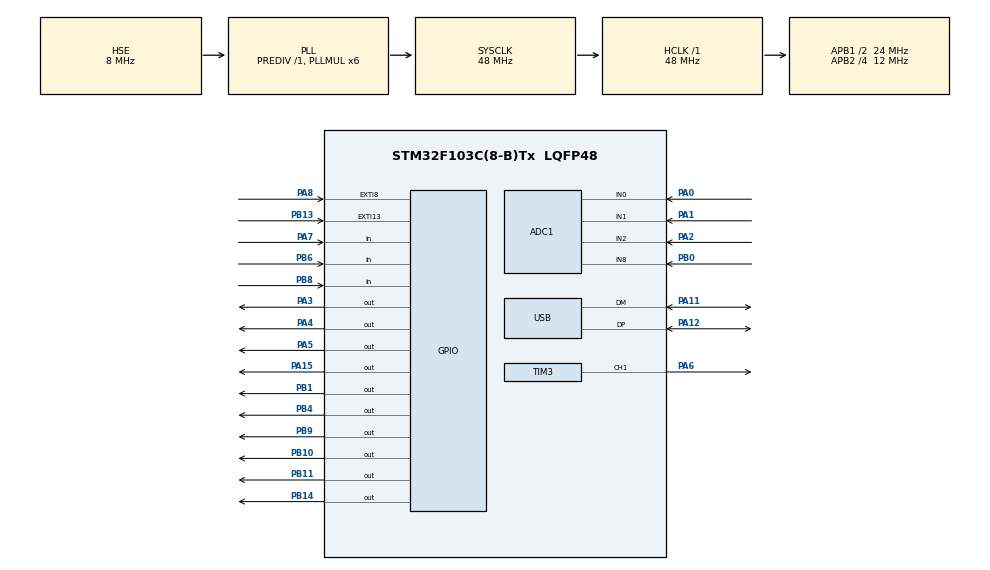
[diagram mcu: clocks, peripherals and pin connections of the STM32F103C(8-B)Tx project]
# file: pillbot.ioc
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ADC1.Channel-1\#ChannelRegularConversion=ADC_CHANNEL_0
ADC1.NbrOfConversionFlag=1
ADC1.Rank-1\#ChannelRegularConversion=1
ADC1.SamplingTime-1\#ChannelRegularConversion=ADC_SAMPLETIME_1CYCLE_5
ADC1.master=1
Mcu.Family=STM32F1
Mcu.Name=STM32F103C(8-B)Tx
Mcu.Package=LQFP48
NVIC.PriorityGroup=NVIC_PRIORITYGROUP_4
NVIC.TIM1_UP_IRQn=true\:0\:0\:false\:false\:true\:true
NVIC.USB_LP_CAN1_RX0_IRQn=true\:0\:0\:false\:false\:true\:false
PA0-WKUP.Signal=ADCx_IN0
PA1.Signal=ADCx_IN1
PA11.Mode=Device
PA11.Signal=USB_DM
PA12.Mode=Device
PA12.Signal=USB_DP
PA13.Mode=Serial_Wire
PA13.Signal=SYS_JTMS-SWDIO
PA14.Mode=Serial_Wire
PA14.Signal=SYS_JTCK-SWCLK
PA15.Signal=GPIO_Output
PA2.Signal=ADCx_IN2
PA3.Signal=GPIO_Output
PA4.Signal=GPIO_Output
PA5.Signal=GPIO_Output
PA6.Signal=S_TIM3_CH1
PA7.GPIO_PuPd=GPIO_PULLUP
PA7.Signal=GPIO_Input
PA8.Signal=GPXTI8
PB0.Signal=ADCx_IN8
PB1.Signal=GPIO_Output
PB10.Signal=GPIO_Output
PB11.Signal=GPIO_Output
PB13.Signal=GPXTI13
PB14.Signal=GPIO_Output
PB4.Signal=GPIO_Output
PB6.GPIO_PuPd=GPIO_PULLUP
PB6.Signal=GPIO_Input
PB8.GPIO_PuPd=GPIO_PULLUP
PB8.Signal=GPIO_Input
PB9.Signal=GPIO_Output
PC14-OSC32_IN.Mode=LSE-External-Oscillator
PC14-OSC32_IN.Signal=RCC_OSC32_IN
PC15-OSC32_OUT.Mode=LSE-External-Oscillator
PC15-OSC32_OUT.Signal=RCC_OSC32_OUT
PD0-OSC_IN.Mode=HSE-External-Oscillator
PD0-OSC_IN.Signal=RCC_OSC_IN
PD1-OSC_OUT.Mode=HSE-External-Oscillator
PD1-OSC_OUT.Signal=RCC_OSC_OUT
ProjectManager.HeapSize=0x200
ProjectManager.StackSize=0x400
ProjectManager.TargetToolchain=SW4STM32
RCC.ADCPresc=RCC_ADCPCLK2_DIV6
RCC.AHBFreq_Value=48000000
RCC.APB1CLKDivider=RCC_HCLK_DIV2
RCC.APB1Freq_Value=24000000
RCC.APB1TimFreq_Value=48000000
RCC.APB2CLKDivider=RCC_HCLK_DIV4
RCC.APB2Freq_Value=12000000
RCC.APB2TimFreq_Value=24000000
RCC.HCLKFreq_Value=48000000
RCC.PLLMUL=RCC_PLL_MUL6
RCC.PLLSourceVirtual=RCC_PLLSOURCE_HSE
RCC.RTCClockSelection=RCC_RTCCLKSOURCE_LSE
RCC.SYSCLKFreq_VALUE=48000000
RCC.SYSCLKSource=RCC_SYSCLKSOURCE_PLLCLK
RCC.USBFreq_Value=48000000
SH.ADCx_IN0.0=ADC1_IN0,IN0
SH.ADCx_IN1.0=ADC1_IN1,IN1
SH.ADCx_IN2.0=ADC1_IN2,IN2
SH.ADCx_IN8.0=ADC1_IN8,IN8
SH.S_TIM3_CH1.0=TIM3_CH1,PWM Generation1 CH1
TIM1.AutoReloadPreload=TIM_AUTORELOAD_PRELOAD_ENABLE
TIM1.Period=500
TIM1.Prescaler=48
TIM1.RepetitionCounter=1
TIM1.TIM_MasterOutputTrigger=TIM_TRGO_UPDATE
TIM3.AutoReloadPreload=TIM_AUTORELOAD_PRELOAD_ENABLE
TIM3.Channel-PWM\ Generation1\ CH1=TIM_CHANNEL_1
TIM3.Period=20
TIM3.Prescaler=48
TIM3.Pulse-PWM\ Generation1\ CH1=10
USB_DEVICE.CLASS_NAME_FS=CDC
USB_DEVICE.VirtualMode=Cdc
USB_DEVICE.VirtualModeFS=Cdc_FS
VP_RTC_VS_RTC_Activate.Mode=RTC_Enabled
VP_RTC_VS_RTC_Calendar.Mode=RTC_Calendar
VP_TIM1_VS_ClockSourceINT.Mode=Internal
VP_USB_DEVICE_VS_USB_DEVICE_CDC_FS.Mode=CDC_FS
board=custom

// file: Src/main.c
/* USER CODE BEGIN Header */
/**
  ******************************************************************************
  * @file           : main.c
  * @brief          : Main program body
  ******************************************************************************
  * This notice applies to any and all portions of this file
  * that are not between comment pairs USER CODE BEGIN and
  * USER CODE END. Other portions of this file, whether
  * inserted by the user or by software development tools
  * are owned by their respective copyright owners.
  *
  * Copyright (c) 2019 STMicroelectronics International N.V.
  * All rights reserved.
  *
  * Redistribution and use in source and binary forms, with or without
  * modification, are permitted, provided that the following conditions are met:
  *
  * 1. Redistribution of source code must retain the above copyright notice,
  *    this list of conditions and the following disclaimer.
  * 2. Redistributions in binary form must reproduce the above copyright notice,
  *    this list of conditions and the following disclaimer in the documentation
  *    and/or other materials provided with the distribution.
  * 3. Neither the name of STMicroelectronics nor the names of other
  *    contributors to this software may be used to endorse or promote products
  *    derived from this software without specific written permission.
  * 4. This software, including modifications and/or derivative works of this
  *    software, must execute solely and exclusively on microcontroller or
  *    microprocessor devices manufactured by or for STMicroelectronics.
  * 5. Redistribution and use of this software other than as permitted under
  *    this license is void and will automatically terminate your rights under
  *    this license.
  *
  * THIS SOFTWARE IS PROVIDED BY STMICROELECTRONICS AND CONTRIBUTORS "AS IS"
  * AND ANY EXPRESS, IMPLIED OR STATUTORY WARRANTIES, INCLUDING, BUT NOT
  * LIMITED TO, THE IMPLIED WARRANTIES OF MERCHANTABILITY, FITNESS FOR A
  * PARTICULAR PURPOSE AND NON-INFRINGEMENT OF THIRD PARTY INTELLECTUAL PROPERTY
  * RIGHTS ARE DISCLAIMED TO THE FULLEST EXTENT PERMITTED BY LAW. IN NO EVENT
  * SHALL STMICROELECTRONICS OR CONTRIBUTORS BE LIABLE FOR ANY DIRECT, INDIRECT,
  * INCIDENTAL, SPECIAL, EXEMPLARY, OR CONSEQUENTIAL DAMAGES (INCLUDING, BUT NOT
  * LIMITED TO, PROCUREMENT OF SUBSTITUTE GOODS OR SERVICES; LOSS OF USE, DATA,
  * OR PROFITS; OR BUSINESS INTERRUPTION) HOWEVER CAUSED AND ON ANY THEORY OF
  * LIABILITY, WHETHER IN CONTRACT, STRICT LIABILITY, OR TORT (INCLUDING
  * NEGLIGENCE OR OTHERWISE) ARISING IN ANY WAY OUT OF THE USE OF THIS SOFTWARE,
  * EVEN IF ADVISED OF THE POSSIBILITY OF SUCH DAMAGE.
  *
  ******************************************************************************
  */
/* USER CODE END Header */

#include "main.h"
#include "usb_device.h"

/* USER CODE BEGIN Includes */
#include "definitions.h"
#include "state_machine.h"
#include "stm32f1xx.h"
#include "hardware_abstraction_layer.h"
#include "hw_test.h"
#include "serial.h"
#include "db.h"
/* USER CODE END Includes */

ADC_HandleTypeDef hadc1;

RTC_HandleTypeDef hrtc;

TIM_HandleTypeDef htim1;
TIM_HandleTypeDef htim3;

void SystemClock_Config(void);
static void MX_GPIO_Init(void);
static void MX_RTC_Init(void);
static void MX_ADC1_Init(void);
static void MX_TIM1_Init(void);
static void MX_TIM3_Init(void);

/* USER CODE BEGIN 0 */
void initAllPins(){
	MX_GPIO_Init();
}
/* USER CODE END 0 */

int main(void)
{

  /* MCU Configuration--------------------------------------------------------*/

  /* Reset of all peripherals, Initializes the Flash interface and the Systick. */
  HAL_Init();

  /* Configure the system clock */
  SystemClock_Config();

  /* Initialize all configured peripherals */
  MX_GPIO_Init();
  MX_RTC_Init();
  MX_ADC1_Init();
  MX_USB_DEVICE_Init();
  MX_TIM1_Init();
  MX_TIM3_Init();
  /* USER CODE BEGIN 2 */
  DB_init(); //IF flash memory nonexistent else load up flash memory
  /* USER CODE END 2 */

  /* Infinite loop */
  /* USER CODE BEGIN WHILE */

  // Set up GPIO Interrupt capability
  HAL_NVIC_EnableIRQ(EXTI9_5_IRQn);
  HAL_NVIC_EnableIRQ(EXTI15_10_IRQn);
  HAL_NVIC_SetPriority(RTC_Alarm_IRQn, 0xf, 0U);
  HAL_NVIC_EnableIRQ(RTC_Alarm_IRQn);
  HAL_TIM_Base_MspInit(&htim1);

#ifdef HW_TEST
  hw_test();
#endif

#ifdef SERIAL_DEBUG
  usbHostConnect();
#endif

  setAlarm(2);
  populateDBWithFake();
  while (1){
	  state_machine_run();
	  //goSleep(sleepLevel);
	  goSleep(SleepLevel_Wake);

    /* USER CODE END WHILE */

  }
}

void SystemClock_Config(void)
{
  RCC_OscInitTypeDef RCC_OscInitStruct = {0};
  RCC_ClkInitTypeDef RCC_ClkInitStruct = {0};
  RCC_PeriphCLKInitTypeDef PeriphClkInit = {0};

  /**Initializes the CPU, AHB and APB busses clocks
  */
  RCC_OscInitStruct.OscillatorType = RCC_OSCILLATORTYPE_HSE|RCC_OSCILLATORTYPE_LSE;
  RCC_OscInitStruct.HSEState = RCC_HSE_ON;
  RCC_OscInitStruct.HSEPredivValue = RCC_HSE_PREDIV_DIV1;
  RCC_OscInitStruct.LSEState = RCC_LSE_ON;
  RCC_OscInitStruct.HSIState = RCC_HSI_ON;
  RCC_OscInitStruct.PLL.PLLState = RCC_PLL_ON;
  RCC_OscInitStruct.PLL.PLLSource = RCC_PLLSOURCE_HSE;
  RCC_OscInitStruct.PLL.PLLMUL = RCC_PLL_MUL6;
  if (HAL_RCC_OscConfig(&RCC_OscInitStruct) != HAL_OK)
  {
    Error_Handler();
  }
  /**Initializes the CPU, AHB and APB busses clocks
  */
  RCC_ClkInitStruct.ClockType = RCC_CLOCKTYPE_HCLK|RCC_CLOCKTYPE_SYSCLK
                              |RCC_CLOCKTYPE_PCLK1|RCC_CLOCKTYPE_PCLK2;
  RCC_ClkInitStruct.SYSCLKSource = RCC_SYSCLKSOURCE_PLLCLK;
  RCC_ClkInitStruct.AHBCLKDivider = RCC_SYSCLK_DIV1;
  RCC_ClkInitStruct.APB1CLKDivider = RCC_HCLK_DIV2;
  RCC_ClkInitStruct.APB2CLKDivider = RCC_HCLK_DIV4;

  if (HAL_RCC_ClockConfig(&RCC_ClkInitStruct, FLASH_LATENCY_1) != HAL_OK)
  {
    Error_Handler();
  }
  PeriphClkInit.PeriphClockSelection = RCC_PERIPHCLK_RTC|RCC_PERIPHCLK_ADC
                              |RCC_PERIPHCLK_USB;
  PeriphClkInit.RTCClockSelection = RCC_RTCCLKSOURCE_LSE;
  PeriphClkInit.AdcClockSelection = RCC_ADCPCLK2_DIV6;
  PeriphClkInit.UsbClockSelection = RCC_USBCLKSOURCE_PLL;
  if (HAL_RCCEx_PeriphCLKConfig(&PeriphClkInit) != HAL_OK)
  {
    Error_Handler();
  }
}

static void MX_ADC1_Init(void)
{

  ADC_ChannelConfTypeDef sConfig = {0};

  /**Common config
  */
  hadc1.Instance = ADC1;
  hadc1.Init.ScanConvMode = ADC_SCAN_DISABLE;
  hadc1.Init.ContinuousConvMode = DISABLE;
  hadc1.Init.DiscontinuousConvMode = DISABLE;
  hadc1.Init.ExternalTrigConv = ADC_SOFTWARE_START;
  hadc1.Init.DataAlign = ADC_DATAALIGN_RIGHT;
  hadc1.Init.NbrOfConversion = 1;
  if (HAL_ADC_Init(&hadc1) != HAL_OK)
  {
    Error_Handler();
  }
  /**Configure Regular Channel
  */
  sConfig.Channel = ADC_CHANNEL_0;
  sConfig.Rank = ADC_REGULAR_RANK_1;
  sConfig.SamplingTime = ADC_SAMPLETIME_1CYCLE_5;
  if (HAL_ADC_ConfigChannel(&hadc1, &sConfig) != HAL_OK)
  {
    Error_Handler();
  }

}

static void MX_RTC_Init(void)
{

  RTC_TimeTypeDef sTime = {0};
  RTC_DateTypeDef DateToUpdate = {0};

  /**Initialize RTC Only
  */
  hrtc.Instance = RTC;
  hrtc.Init.AsynchPrediv = RTC_AUTO_1_SECOND;
  hrtc.Init.OutPut = RTC_OUTPUTSOURCE_ALARM;
  if (HAL_RTC_Init(&hrtc) != HAL_OK)
  {
    Error_Handler();
  }

  /**Initialize RTC and set the Time and Date
  */
  sTime.Hours = 0x0;
  sTime.Minutes = 0x0;
  sTime.Seconds = 0x0;

  if (HAL_RTC_SetTime(&hrtc, &sTime, RTC_FORMAT_BCD) != HAL_OK)
  {
    Error_Handler();
  }
  DateToUpdate.WeekDay = RTC_WEEKDAY_MONDAY;
  DateToUpdate.Month = RTC_MONTH_JANUARY;
  DateToUpdate.Date = 0x1;
  DateToUpdate.Year = 0x0;

  if (HAL_RTC_SetDate(&hrtc, &DateToUpdate, RTC_FORMAT_BCD) != HAL_OK)
  {
    Error_Handler();
  }

}

static void MX_TIM1_Init(void)
{

  TIM_ClockConfigTypeDef sClockSourceConfig = {0};
  TIM_MasterConfigTypeDef sMasterConfig = {0};

  htim1.Instance = TIM1;
  htim1.Init.Prescaler = 48;
  htim1.Init.CounterMode = TIM_COUNTERMODE_UP;
  htim1.Init.Period = 500;
  htim1.Init.ClockDivision = TIM_CLOCKDIVISION_DIV1;
  htim1.Init.RepetitionCounter = 1;
  htim1.Init.AutoReloadPreload = TIM_AUTORELOAD_PRELOAD_ENABLE;
  if (HAL_TIM_Base_Init(&htim1) != HAL_OK)
  {
    Error_Handler();
  }
  sClockSourceConfig.ClockSource = TIM_CLOCKSOURCE_INTERNAL;
  if (HAL_TIM_ConfigClockSource(&htim1, &sClockSourceConfig) != HAL_OK)
  {
    Error_Handler();
  }
  sMasterConfig.MasterOutputTrigger = TIM_TRGO_UPDATE;
  sMasterConfig.MasterSlaveMode = TIM_MASTERSLAVEMODE_DISABLE;
  if (HAL_TIMEx_MasterConfigSynchronization(&htim1, &sMasterConfig) != HAL_OK)
  {
    Error_Handler();
  }

}

static void MX_TIM3_Init(void)
{

  TIM_MasterConfigTypeDef sMasterConfig = {0};
  TIM_OC_InitTypeDef sConfigOC = {0};

  htim3.Instance = TIM3;
  htim3.Init.Prescaler = 48;
  htim3.Init.CounterMode = TIM_COUNTERMODE_UP;
  htim3.Init.Period = 20;
  htim3.Init.ClockDivision = TIM_CLOCKDIVISION_DIV1;
  htim3.Init.AutoReloadPreload = TIM_AUTORELOAD_PRELOAD_ENABLE;
  if (HAL_TIM_PWM_Init(&htim3) != HAL_OK)
  {
    Error_Handler();
  }
  sMasterConfig.MasterOutputTrigger = TIM_TRGO_RESET;
  sMasterConfig.MasterSlaveMode = TIM_MASTERSLAVEMODE_DISABLE;
  if (HAL_TIMEx_MasterConfigSynchronization(&htim3, &sMasterConfig) != HAL_OK)
  {
    Error_Handler();
  }
  sConfigOC.OCMode = TIM_OCMODE_PWM1;
  sConfigOC.Pulse = 10;
  sConfigOC.OCPolarity = TIM_OCPOLARITY_HIGH;
  sConfigOC.OCFastMode = TIM_OCFAST_DISABLE;
  if (HAL_TIM_PWM_ConfigChannel(&htim3, &sConfigOC, TIM_CHANNEL_1) != HAL_OK)
  {
    Error_Handler();
  }
  HAL_TIM_MspPostInit(&htim3);

}

static void MX_GPIO_Init(void)
{
  GPIO_InitTypeDef GPIO_InitStruct = {0};

  /* GPIO Ports Clock Enable */
  __HAL_RCC_GPIOC_CLK_ENABLE();
  __HAL_RCC_GPIOD_CLK_ENABLE();
  __HAL_RCC_GPIOA_CLK_ENABLE();
  __HAL_RCC_GPIOB_CLK_ENABLE();

  /*Configure GPIO pin Output Level */
  HAL_GPIO_WritePin(GPIOA, GPIO_PIN_3|GPIO_PIN_4|GPIO_PIN_5|GPIO_PIN_15, GPIO_PIN_RESET);

  /*Configure GPIO pin Output Level */
  HAL_GPIO_WritePin(GPIOB, GPIO_PIN_1|GPIO_PIN_10|GPIO_PIN_11|GPIO_PIN_14
                          |GPIO_PIN_4|GPIO_PIN_9, GPIO_PIN_RESET);

  /*Configure GPIO pins : PA3 PA4 PA5 PA15 */
  GPIO_InitStruct.Pin = GPIO_PIN_3|GPIO_PIN_4|GPIO_PIN_5|GPIO_PIN_15;
  GPIO_InitStruct.Mode = GPIO_MODE_OUTPUT_PP;
  GPIO_InitStruct.Pull = GPIO_NOPULL;
  GPIO_InitStruct.Speed = GPIO_SPEED_FREQ_LOW;
  HAL_GPIO_Init(GPIOA, &GPIO_InitStruct);

  /*Configure GPIO pin : PA7 */
  GPIO_InitStruct.Pin = GPIO_PIN_7;
  GPIO_InitStruct.Mode = GPIO_MODE_INPUT;
  GPIO_InitStruct.Pull = GPIO_PULLUP;
  HAL_GPIO_Init(GPIOA, &GPIO_InitStruct);

  /*Configure GPIO pins : PB1 PB10 PB11 PB14
                           PB4 PB9 */
  GPIO_InitStruct.Pin = GPIO_PIN_1|GPIO_PIN_10|GPIO_PIN_11|GPIO_PIN_14
                          |GPIO_PIN_4|GPIO_PIN_9;
  GPIO_InitStruct.Mode = GPIO_MODE_OUTPUT_PP;
  GPIO_InitStruct.Pull = GPIO_NOPULL;
  GPIO_InitStruct.Speed = GPIO_SPEED_FREQ_LOW;
  HAL_GPIO_Init(GPIOB, &GPIO_InitStruct);

  /*Configure GPIO pin : PB13 */
  GPIO_InitStruct.Pin = GPIO_PIN_13;
  GPIO_InitStruct.Mode = GPIO_MODE_IT_RISING;
  GPIO_InitStruct.Pull = GPIO_NOPULL;
  HAL_GPIO_Init(GPIOB, &GPIO_InitStruct);

  /*Configure GPIO pin : PA8 */
  GPIO_InitStruct.Pin = GPIO_PIN_8;
  GPIO_InitStruct.Mode = GPIO_MODE_IT_RISING;
  GPIO_InitStruct.Pull = GPIO_NOPULL;
  HAL_GPIO_Init(GPIOA, &GPIO_InitStruct);

  /*Configure GPIO pins : PB6 PB8 */
  GPIO_InitStruct.Pin = GPIO_PIN_6|GPIO_PIN_8;
  GPIO_InitStruct.Mode = GPIO_MODE_INPUT;
  GPIO_InitStruct.Pull = GPIO_PULLUP;
  HAL_GPIO_Init(GPIOB, &GPIO_InitStruct);

}

/* USER CODE BEGIN 4 */

void MX_RTC_Init_ex(void){
	MX_RTC_Init();
}
void MX_ADC_Init_ex(void){
	MX_ADC1_Init();
}
/* USER CODE END 4 */

void Error_Handler(void)
{
}

/************************ (C) COPYRIGHT STMicroelectronics *****END OF FILE****/
